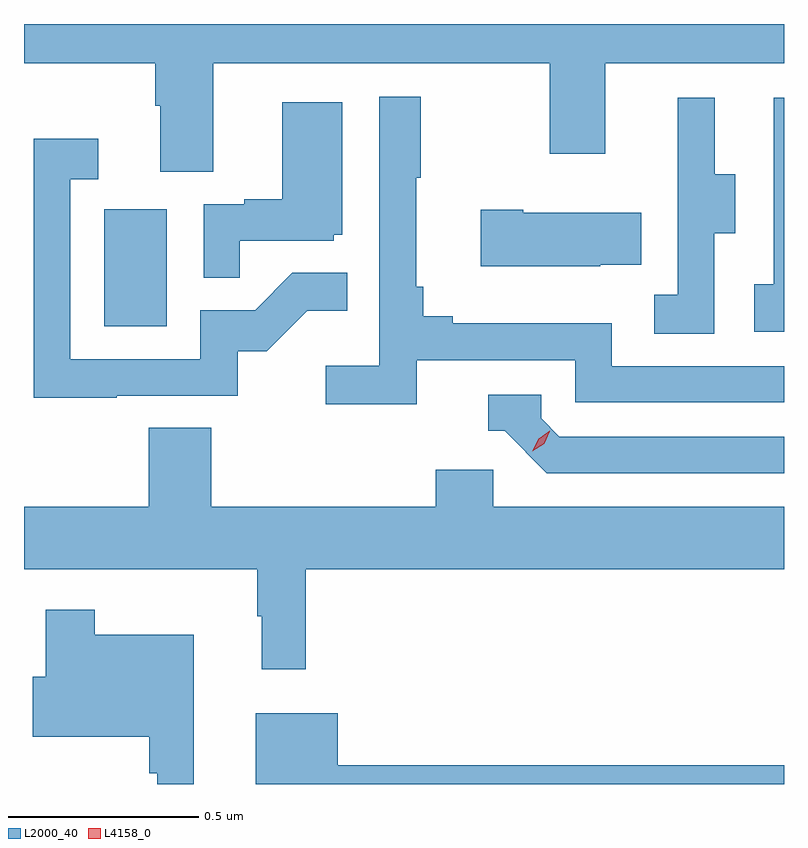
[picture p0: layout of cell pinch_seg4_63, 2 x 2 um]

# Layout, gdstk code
import gdstk
lib = gdstk.Library(unit=1e-6, precision=1e-09)
def R(c, l, rs):  # rectangles x0, y0, x1, y1
    for r in rs: c.add(gdstk.rectangle(r[:2], r[2:], *l))
def P(c, l, *ps):  # polygons
    for p in ps: c.add(gdstk.Polygon(p, *l))
L2000_40 = (2000, 40)
L4158_0 = (4158, 0)

pinch_seg4_63 = lib.new_cell('pinch_seg4_63')
R(pinch_seg4_63, L2000_40, [(1019.354,824.1,1019.518,824.407)])
P(pinch_seg4_63, L2000_40, [(1019.641,824.792),(1020.526,824.792),(1020.526,824.553),(1020.673,824.553),(1020.673,824.792),(1021.143,824.792),(1021.143,824.895),(1019.143,824.895),(1019.143,824.792),(1019.489,824.792),(1019.489,824.68),(1019.501,824.68),(1019.501,824.506),(1019.641,824.506)],
  [(1020.176,824.01),(1020.594,824.01),(1020.594,823.899),(1021.143,823.899),(1021.143,823.995),(1020.69,823.995),(1020.69,824.107),(1020.271,824.107),(1020.271,824.126),(1020.194,824.126),(1020.194,824.203),(1020.175,824.203),(1020.175,824.491),(1020.187,824.491),(1020.187,824.704),(1020.078,824.704),(1020.078,823.996),(1019.937,823.996),(1019.937,823.894),(1020.176,823.894)],
  [(1021.143,824.701),(1021.116,824.701),(1021.116,824.21),(1021.065,824.21),(1021.065,824.085),(1021.143,824.085)],
  [(1020.96,824.344),(1021.015,824.344),(1021.015,824.499),(1020.961,824.499),(1020.961,824.701),(1020.863,824.701),(1020.863,824.487),(1020.864,824.487),(1020.864,824.183),(1020.801,824.183),(1020.801,824.08),(1020.96,824.08)],
  [(1019.711,824.325),(1019.958,824.325),(1019.958,824.34),(1019.98,824.34),(1019.98,824.689),(1019.822,824.689),(1019.822,824.434),(1019.723,824.434),(1019.723,824.421),(1019.616,824.421),(1019.616,824.227),(1019.711,824.227)],
  [(1019.387,823.917),(1019.706,823.917),(1019.706,824.034),(1019.782,824.034),(1019.889,824.141),(1019.993,824.141),(1019.993,824.24),(1019.849,824.24),(1019.751,824.142),(1019.607,824.142),(1019.607,824.013),(1019.265,824.013),(1019.265,824.487),(1019.338,824.487),(1019.338,824.593),(1019.169,824.593),(1019.169,823.912),(1019.387,823.912)],
  [(1020.659,824.261),(1020.767,824.261),(1020.767,824.398),(1020.457,824.398),(1020.457,824.406),(1020.345,824.406),(1020.345,824.258),(1020.659,824.258)],
  [(1021.143,823.809),(1020.552,823.809),(1020.504,823.857),(1020.504,823.92),(1020.365,823.92),(1020.365,823.824),(1020.408,823.824),(1020.519,823.713),(1021.143,823.713)],
  [(1019.885,823.46),(1021.143,823.46),(1021.143,823.624),(1020.378,823.624),(1020.378,823.722),(1020.227,823.722),(1020.227,823.624),(1019.636,823.624),(1019.636,823.832),(1019.471,823.832),(1019.471,823.624),(1019.143,823.624),(1019.143,823.46),(1019.757,823.46),(1019.757,823.337),(1019.768,823.337),(1019.768,823.197),(1019.885,823.197)],
  [(1019.59,823.288),(1019.329,823.288),(1019.329,823.354),(1019.2,823.354),(1019.2,823.177),(1019.166,823.177),(1019.166,823.019),(1019.473,823.019),(1019.473,822.923),(1019.493,822.923),(1019.493,822.895),(1019.59,822.895)],
  [(1021.143,822.944),(1019.968,822.944),(1019.968,823.081),(1019.753,823.081),(1019.753,822.895),(1021.143,822.895)])
P(pinch_seg4_63, L4158_0, [(1020.481,823.771),(1020.481,823.771),(1020.497,823.804),(1020.527,823.824),(1020.527,823.824),(1020.527,823.823),(1020.512,823.791),(1020.481,823.771)])

lib.write_gds('pinch_seg4_63.gds')
